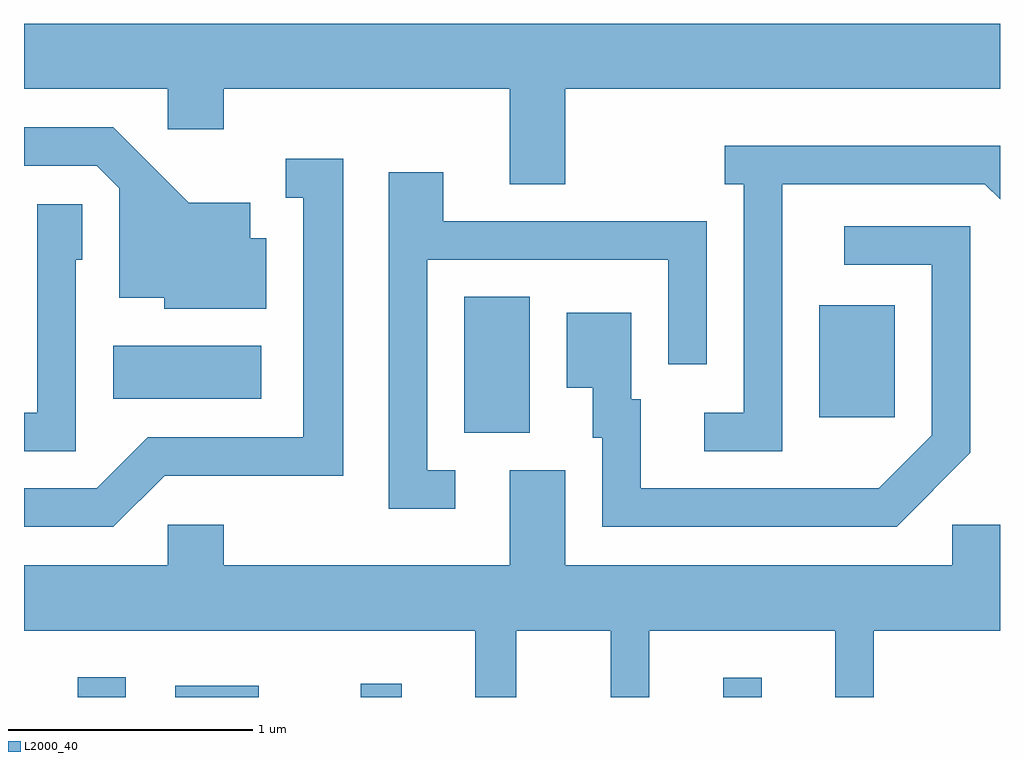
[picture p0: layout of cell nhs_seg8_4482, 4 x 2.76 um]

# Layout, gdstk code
import gdstk
lib = gdstk.Library(unit=1e-6, precision=1e-09)
def R(c, l, rs):  # rectangles x0, y0, x1, y1
    for r in rs: c.add(gdstk.rectangle(r[:2], r[2:], *l))
def P(c, l, *ps):  # polygons
    for p in ps: c.add(gdstk.Polygon(p, *l))
L2000_40 = (2000, 40)

nhs_seg8_4482 = lib.new_cell('nhs_seg8_4482')
R(nhs_seg8_4482, L2000_40, [(319.831,1858.342,320.029,1858.424), (320.231,1858.342,320.574,1858.389), (320.991,1858.342,321.159,1858.398), (322.476,1858.342,322.634,1858.423), (321.416,1859.426,321.684,1859.984), (322.871,1859.491,323.179,1859.949), (319.976,1859.566,320.584,1859.784)])
P(nhs_seg8_4482, L2000_40, [(321.829,1860.836),(323.611,1860.836),(323.611,1861.104),(319.611,1861.104),(319.611,1860.836),(320.201,1860.836),(320.201,1860.671),(320.429,1860.671),(320.429,1860.836),(321.601,1860.836),(321.601,1860.446),(321.829,1860.446)],
  [(320.604,1860.224),(320.539,1860.224),(320.539,1860.369),(320.287,1860.369),(319.977,1860.679),(319.611,1860.679),(319.611,1860.521),(319.909,1860.521),(320.001,1860.429),(320.001,1859.981),(320.186,1859.981),(320.186,1859.936),(320.604,1859.936)],
  [(322.719,1860.446),(323.549,1860.446),(323.611,1860.384),(323.611,1860.604),(322.483,1860.604),(322.483,1860.446),(322.561,1860.446),(322.561,1859.509),(322.398,1859.509),(322.398,1859.351),(322.719,1859.351)],
  [(320.187,1859.251),(320.919,1859.251),(320.919,1860.549),(320.683,1860.549),(320.683,1860.391),(320.756,1860.391),(320.756,1859.409),(320.119,1859.409),(319.909,1859.199),(319.611,1859.199),(319.611,1859.041),(319.977,1859.041)],
  [(321.378,1859.274),(321.264,1859.274),(321.264,1860.136),(322.251,1860.136),(322.251,1859.708),(322.409,1859.708),(322.409,1860.294),(321.329,1860.294),(321.329,1860.494),(321.106,1860.494),(321.106,1859.116),(321.378,1859.116)],
  [(319.824,1860.136),(319.849,1860.136),(319.849,1860.364),(319.666,1860.364),(319.666,1859.509),(319.611,1859.509),(319.611,1859.351),(319.824,1859.351)],
  [(323.489,1859.344),(323.489,1860.274),(322.973,1860.274),(322.973,1860.116),(323.331,1860.116),(323.331,1859.417),(323.114,1859.199),(322.139,1859.199),(322.139,1859.564),(322.099,1859.564),(322.099,1859.919),(321.836,1859.919),(321.836,1859.611),(321.941,1859.611),(321.941,1859.406),(321.981,1859.406),(321.981,1859.041),(323.187,1859.041)],
  [(321.629,1858.616),(322.016,1858.616),(322.016,1858.342),(322.174,1858.342),(322.174,1858.616),(322.936,1858.616),(322.936,1858.342),(323.094,1858.342),(323.094,1858.616),(323.611,1858.616),(323.611,1859.049),(323.416,1859.049),(323.416,1858.884),(321.829,1858.884),(321.829,1859.274),(321.601,1859.274),(321.601,1858.884),(320.429,1858.884),(320.429,1859.049),(320.201,1859.049),(320.201,1858.884),(319.611,1858.884),(319.611,1858.616),(321.461,1858.616),(321.461,1858.342),(321.629,1858.342)])

lib.write_gds('nhs_seg8_4482.gds')
